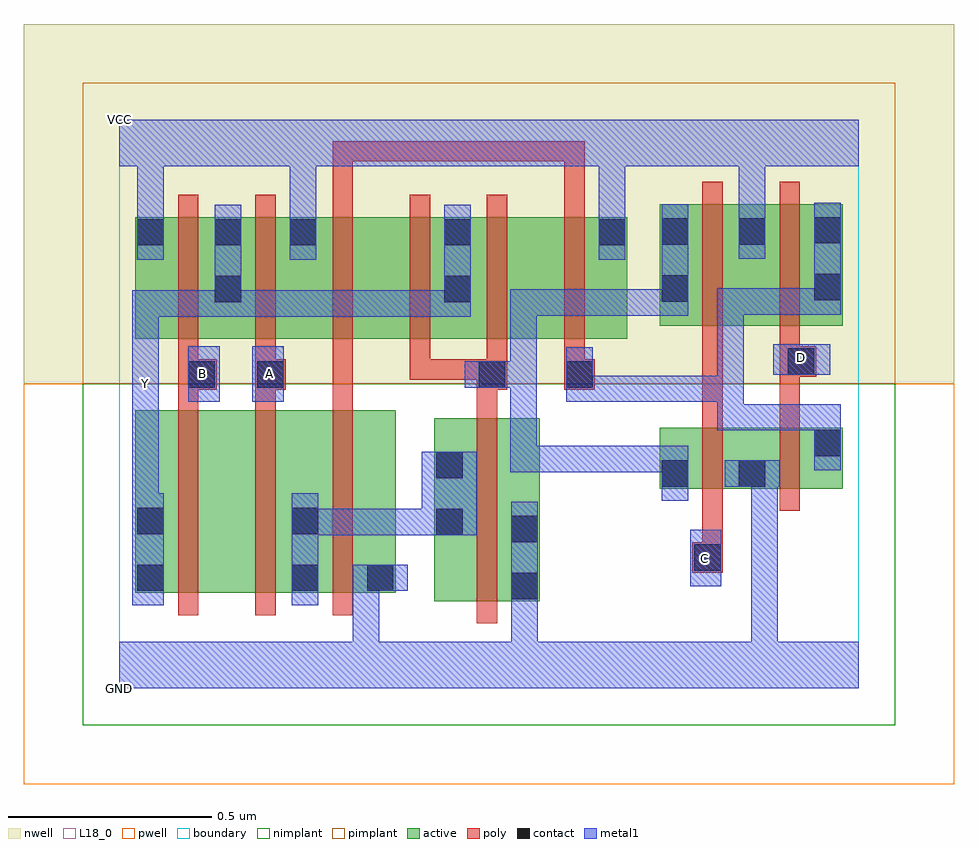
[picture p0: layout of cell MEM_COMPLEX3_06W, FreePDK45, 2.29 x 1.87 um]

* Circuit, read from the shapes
.subckt MEM_COMPLEX3_06W A B C D GND VCC Y
M1 n1 B Y VSUBS nfet w=0.45u l=0.05u
M2 n2 A n1 VSUBS nfet w=0.45u l=0.05u
M3 GND n3 n2 VSUBS nfet w=0.45u l=0.05u
M4 GND n4 n2 VSUBS nfet w=0.45u l=0.05u
M5 GND C n4 VSUBS nfet w=0.15u l=0.05u
M6 n3 D GND VSUBS nfet w=0.15u l=0.05u
M7 Y B VCC n5 pfet w=0.3u l=0.05u
M8 VCC A Y n5 pfet w=0.3u l=0.05u
M9 n6 n3 VCC n5 pfet w=0.3u l=0.05u
M10 Y n4 n6 n5 pfet w=0.3u l=0.05u
M11 n7 n4 Y n5 pfet w=0.3u l=0.05u
M12 VCC n3 n7 n5 pfet w=0.3u l=0.05u
M13 VCC C n4 n5 pfet w=0.3u l=0.05u
M14 n3 D VCC n5 pfet w=0.3u l=0.05u
.ends

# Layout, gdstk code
import gdstk
lib = gdstk.Library(unit=1e-6, precision=1e-09)
def R(c, l, rs):  # rectangles x0, y0, x1, y1
    for r in rs: c.add(gdstk.rectangle(r[:2], r[2:], *l))
def A(c, l, x, y, w, h, nx, ny, dx, dy):  # array of equal rectangles
    R(c, l, [(x+i*dx, y+j*dy, x+i*dx+w, y+j*dy+h) for i in range(nx) for j in range(ny)])
active = (1, 0)
pwell = (2, 0)
nwell = (3, 0)
nimplant = (4, 0)
pimplant = (5, 0)
poly = (9, 0)
contact = (10, 0)
metal1 = (11, 0)
L18_0 = (18, 0)
boundary = (235, 0)

mem_complex3_06w = lib.new_cell('MEM_COMPLEX3_06W')
R(mem_complex3_06w, active, [(0.775,0.215,0.85,0.665), (0.775,0.215,1.035,0.665), (0.96,0.215,1.035,0.665), (0.04,0.235,0.115,0.685), (0.04,0.235,0.265,0.685), (0.265,0.235,0.495,0.685), (0.42,0.235,0.68,0.685), (0.42,0.235,0.495,0.542), (0.605,0.235,0.68,0.685), (1.33,0.492,1.595,0.642), (1.33,0.492,1.405,0.642), (1.52,0.492,1.78,0.642), (1.52,0.492,1.595,0.567), (1.705,0.545,1.78,0.642), (0.04,0.86,0.115,1.16), (0.04,0.86,0.305,1.16), (0.23,0.86,0.49,1.16), (0.23,0.86,0.305,1.16), (0.415,0.86,0.645,1.16), (0.645,0.86,0.87,1.16), (0.795,0.86,0.87,1.16), (0.795,0.86,1.025,1.16), (1.025,0.86,1.25,1.16), (1.175,0.86,1.25,1.16), (1.33,0.892,1.595,1.192), (1.33,0.892,1.405,1.162), (1.52,0.892,1.78,1.192), (1.52,0.892,1.595,1.192), (1.705,0.892,1.78,1.165), (0.415,0.962,0.49,1.16)])
R(mem_complex3_06w, pwell, [(-0.235,-0.235,2.055,0.75)])
R(mem_complex3_06w, nwell, [(-0.235,0.75,2.055,1.635)])
R(mem_complex3_06w, nimplant, [(-0.09,-0.09,1.91,0.75)])
R(mem_complex3_06w, pimplant, [(-0.09,0.75,1.91,1.49)])
A(mem_complex3_06w, poly, 0.145, 0.18, 0.05, 0.56, 3, 1, 0.19, 0)
A(mem_complex3_06w, poly, 0.145, 0.76, 0.05, 0.095, 6, 1, 0.19, 0)
A(mem_complex3_06w, poly, 0.145, 0.805, 0.05, 0.41, 6, 1, 0.19, 0)
R(mem_complex3_06w, poly, [(0.88,0.16,0.93,0.72), (1.41,0.285,1.485,0.36), (1.435,0.31,1.485,0.487), (1.435,0.437,1.485,0.697), (1.625,0.437,1.675,0.697), (1.435,0.647,1.485,0.842), (1.625,0.647,1.675,0.817), (0.88,0.67,0.93,0.785), (0.145,0.69,0.195,0.785), (0.335,0.69,0.385,0.785), (0.525,0.69,0.575,0.81), (0.145,0.735,0.24,0.81), (0.335,0.735,0.41,0.81), (0.88,0.735,0.955,0.81), (1.095,0.735,1.17,0.81), (0.525,0.76,0.575,0.81), (0.715,0.76,0.765,0.81), (0.715,0.76,0.765,0.81), (0.715,0.76,0.765,0.81), (0.715,0.76,0.93,0.81), (1.625,0.767,1.715,0.842), (1.435,0.792,1.485,0.887), (1.435,0.792,1.485,0.842), (1.625,0.792,1.675,0.887), (1.435,0.837,1.485,1.247), (1.625,0.837,1.675,1.247), (0.525,1.165,0.575,1.347), (1.095,1.165,1.145,1.347), (0.525,1.297,0.575,1.347), (0.525,1.297,0.575,1.347), (0.525,1.297,0.575,1.347), (0.525,1.297,0.797,1.347), (0.747,1.297,0.797,1.347), (0.747,1.297,0.797,1.347), (0.747,1.297,0.797,1.347), (0.747,1.297,1.012,1.347), (0.962,1.297,1.012,1.347), (0.962,1.297,1.012,1.347), (0.962,1.297,1.012,1.347), (0.962,1.297,1.145,1.347), (1.095,1.297,1.145,1.347)])
A(mem_complex3_06w, contact, 0.42, 1.09, 0.065, 0.065, 3, 1, 0.38, 0)
R(mem_complex3_06w, contact, [(0.965,0.22,1.03,0.285), (0.045,0.24,0.11,0.305), (0.425,0.24,0.49,0.305), (0.61,0.24,0.675,0.305), (1.415,0.29,1.48,0.355), (0.965,0.36,1.03,0.425), (0.78,0.377,0.845,0.442), (0.045,0.38,0.11,0.445), (0.425,0.38,0.49,0.445), (1.335,0.497,1.4,0.562), (1.525,0.497,1.59,0.562), (0.78,0.517,0.845,0.582), (1.71,0.572,1.775,0.637), (0.17,0.74,0.235,0.805), (0.34,0.74,0.405,0.805), (0.885,0.74,0.95,0.805), (1.1,0.74,1.165,0.805), (1.645,0.772,1.71,0.837), (0.235,0.95,0.3,1.015), (0.8,0.95,0.865,1.015), (1.335,0.952,1.4,1.017), (1.71,0.955,1.775,1.02), (0.045,1.09,0.11,1.155), (0.235,1.09,0.3,1.155), (1.335,1.092,1.4,1.157), (1.525,1.092,1.59,1.157), (1.71,1.095,1.775,1.16)])
R(mem_complex3_06w, metal1, [(0,0,1.82,0.115), (0.575,0.05,0.64,0.305), (0.965,0.05,1.03,0.25), (1.555,0.05,1.62,0.562), (0.965,0.185,1.03,0.25), (0.965,0.185,1.03,0.25), (0.965,0.185,1.03,0.46), (0.032,0.205,0.11,0.48), (0.425,0.205,0.49,0.48), (0.575,0.24,0.64,0.305), (0.575,0.24,0.64,0.305), (0.575,0.24,0.71,0.305), (1.405,0.252,1.482,0.39), (0.425,0.377,0.49,0.442), (0.425,0.377,0.49,0.442), (0.425,0.377,0.627,0.442), (0.562,0.377,0.627,0.442), (0.562,0.377,0.627,0.442), (0.562,0.377,0.627,0.442), (0.562,0.377,0.81,0.442), (0.745,0.377,0.88,0.582), (0.032,0.415,0.097,0.747), (1.335,0.462,1.4,0.597), (1.49,0.497,1.625,0.562), (1.555,0.497,1.62,0.562), (1.555,0.497,1.62,0.562), (1.555,0.497,1.62,0.562), (1.555,0.497,1.62,0.562), (1.555,0.497,1.62,0.562), (1.555,0.497,1.62,0.562), (0.962,0.532,1.027,0.597), (0.962,0.532,1.262,0.597), (0.962,0.532,1.027,0.805), (1.197,0.532,1.262,0.597), (1.197,0.532,1.262,0.597), (1.197,0.532,1.262,0.597), (1.197,0.532,1.4,0.597), (1.71,0.537,1.775,0.672), (1.71,0.607,1.775,0.672), (1.71,0.607,1.775,0.7), (1.472,0.635,1.537,0.7), (1.472,0.635,1.537,0.77), (1.472,0.635,1.775,0.7), (0.032,0.682,0.097,0.817), (0.17,0.705,0.247,0.842), (0.327,0.705,0.405,0.842), (1.1,0.705,1.165,0.77), (1.1,0.705,1.165,0.77), (1.1,0.705,1.165,0.84), (1.1,0.705,1.4,0.77), (1.335,0.705,1.4,0.77), (1.335,0.705,1.425,0.77), (1.36,0.705,1.425,0.77), (1.36,0.705,1.537,0.77), (1.472,0.705,1.537,0.77), (1.472,0.705,1.537,0.985), (0.85,0.74,0.985,0.805), (0.92,0.74,1.027,0.805), (0.962,0.74,1.027,0.805), (0.962,0.74,1.027,0.982), (0.032,0.752,0.097,0.98), (1.61,0.772,1.75,0.847), (0.032,0.915,0.097,0.98), (0.032,0.915,0.097,0.98), (0.032,0.915,0.097,0.98), (0.032,0.915,0.3,0.98), (0.235,0.915,0.3,0.98), (0.235,0.915,0.3,0.98), (0.235,0.915,0.3,1.19), (0.235,0.915,0.437,0.98), (0.372,0.915,0.437,0.98), (0.372,0.915,0.437,0.98), (0.372,0.915,0.437,0.98), (0.372,0.915,0.627,0.98), (0.562,0.915,0.627,0.98), (0.562,0.915,0.627,0.98), (0.562,0.915,0.627,0.98), (0.562,0.915,0.865,0.98), (0.8,0.915,0.865,1.19), (0.962,0.917,1.027,0.982), (0.962,0.917,1.262,0.982), (1.197,0.917,1.262,0.982), (1.197,0.917,1.262,0.982), (1.197,0.917,1.262,0.982), (1.197,0.917,1.4,0.982), (1.335,0.917,1.4,1.192), (1.472,0.92,1.537,0.985), (1.472,0.92,1.775,0.985), (1.71,0.92,1.775,0.985), (1.71,0.92,1.775,0.985), (1.71,0.92,1.775,1.195), (0.045,1.055,0.11,1.19), (0.42,1.055,0.485,1.19), (1.18,1.055,1.245,1.19), (1.525,1.057,1.59,1.192), (0.045,1.125,0.11,1.35), (0.42,1.125,0.485,1.35), (1.18,1.125,1.245,1.19), (1.18,1.125,1.245,1.19), (1.18,1.125,1.245,1.35), (1.525,1.127,1.59,1.192), (1.525,1.127,1.59,1.192), (1.525,1.127,1.59,1.35), (0,1.285,1.82,1.4), (0.045,1.285,0.11,1.35), (0.045,1.285,0.11,1.35), (0.42,1.285,0.485,1.35), (0.42,1.285,0.485,1.35)])
R(mem_complex3_06w, L18_0, [(0,0,1.82,0.115), (0.575,0.05,0.64,0.305), (0.965,0.05,1.03,0.25), (1.555,0.05,1.62,0.562), (0.965,0.185,1.03,0.25), (0.965,0.185,1.03,0.25), (0.965,0.185,1.03,0.46), (0.032,0.205,0.11,0.48), (0.575,0.24,0.64,0.305), (0.575,0.24,0.64,0.305), (0.575,0.24,0.71,0.305), (1.405,0.252,1.482,0.39), (1.407,0.287,1.472,0.352), (0.032,0.415,0.097,0.747), (1.49,0.497,1.625,0.562), (1.555,0.497,1.62,0.562), (1.555,0.497,1.62,0.562), (1.555,0.497,1.62,0.562), (1.555,0.497,1.62,0.562), (1.555,0.497,1.62,0.562), (1.555,0.497,1.62,0.562), (0.032,0.682,0.097,0.817), (0.17,0.705,0.247,0.842), (0.327,0.705,0.405,0.842), (0.032,0.717,0.097,0.782), (0.172,0.742,0.237,0.807), (0.337,0.742,0.402,0.807), (0.032,0.752,0.097,0.98), (1.61,0.772,1.75,0.847), (1.647,0.782,1.712,0.847), (0.032,0.915,0.097,0.98), (0.032,0.915,0.097,0.98), (0.032,0.915,0.097,0.98), (0.032,0.915,0.3,0.98), (0.235,0.915,0.3,0.98), (0.235,0.915,0.3,0.98), (0.235,0.915,0.3,1.19), (0.235,0.915,0.437,0.98), (0.372,0.915,0.437,0.98), (0.372,0.915,0.437,0.98), (0.372,0.915,0.437,0.98), (0.372,0.915,0.627,0.98), (0.562,0.915,0.627,0.98), (0.562,0.915,0.627,0.98), (0.562,0.915,0.627,0.98), (0.562,0.915,0.865,0.98), (0.8,0.915,0.865,1.19), (0.045,1.055,0.11,1.19), (0.42,1.055,0.485,1.19), (1.18,1.055,1.245,1.19), (1.525,1.057,1.59,1.192), (0.045,1.125,0.11,1.35), (0.42,1.125,0.485,1.35), (1.18,1.125,1.245,1.19), (1.18,1.125,1.245,1.19), (1.18,1.125,1.245,1.35), (1.525,1.127,1.59,1.192), (1.525,1.127,1.59,1.192), (1.525,1.127,1.59,1.35), (0,1.285,1.82,1.4), (0.045,1.285,0.11,1.35), (0.045,1.285,0.11,1.35), (0.42,1.285,0.485,1.35), (0.42,1.285,0.485,1.35)])
R(mem_complex3_06w, boundary, [(0,0,1.82,1.4)])
mem_complex3_06w.add(gdstk.Label('A', (0.37,0.775), layer=11, texttype=0))
mem_complex3_06w.add(gdstk.Label('B', (0.205,0.775), layer=11, texttype=0))
mem_complex3_06w.add(gdstk.Label('C', (1.44,0.32), layer=11, texttype=0))
mem_complex3_06w.add(gdstk.Label('D', (1.68,0.815), layer=11, texttype=0))
mem_complex3_06w.add(gdstk.Label('Y', (0.065,0.75), layer=11, texttype=0))
mem_complex3_06w.add(gdstk.Label('VCC', (0,1.4), layer=11, texttype=0))
mem_complex3_06w.add(gdstk.Label('GND', (0,0), layer=11, texttype=0))

lib.write_gds('MEM_COMPLEX3_06W.gds')
